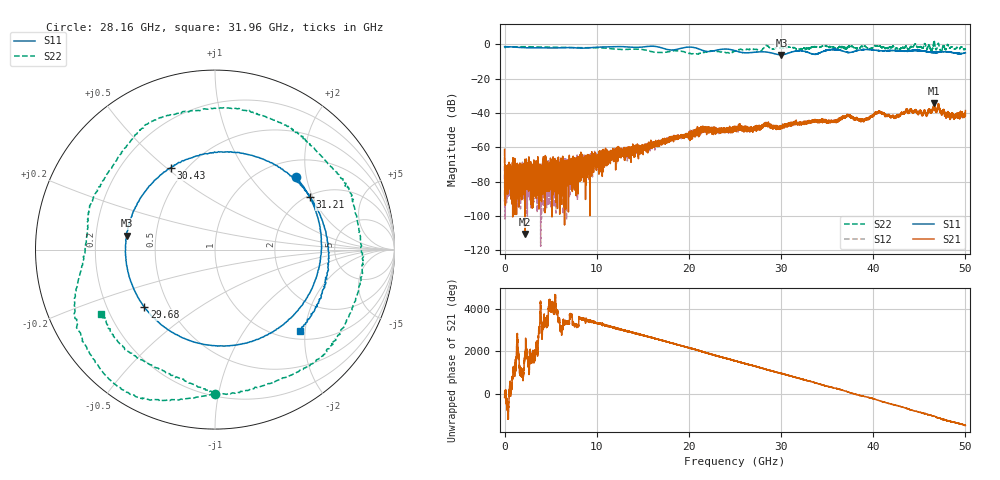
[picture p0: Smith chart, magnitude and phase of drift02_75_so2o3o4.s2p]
!Created with skrf (http://scikit-rf.org).
# Hz S RI R 50.0
!freq ReS11 ImS11 ReS21 ImS21 ReS12 ImS12 ReS22 ImS22
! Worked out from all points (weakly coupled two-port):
!   10001 points, 300 kHz to 50 GHz, reference 50 ohm
!   highest |S21| = -34.15 dB at 46.61 GHz (marker M1); lowest = -110.4 dB at 2.2 GHz (marker M2)
!   lowest |S11| = -6.1 dB at 30.04 GHz (marker M3), VSWR 2.97, Z = 16.9 + j3.52 ohm
!   |S11| at or under -10 dB: nowhere
!   |S22| runs from -5.7 to 2.3 dB; largest |S21 - S12| = 0.003
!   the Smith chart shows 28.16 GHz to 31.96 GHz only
!   S11 on the Smith chart (normalised r, x): 28.16 GHz: 1.35, +1.74; 29.68 GHz: 0.36, -0.31; 30.43 GHz: 0.41, +0.52; 31.21 GHz: 2.06, +1.90; 31.96 GHz: 1.19, -1.87
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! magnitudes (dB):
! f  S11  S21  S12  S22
! 300 kHz  -1.3  -61.1  -61.2  -2.1
! 255.3 MHz  -1.4  -73.3  -90.0  -1.4
! 2.2 GHz  -1.9  -110.4  -74.2  -1.3
! 6.125 GHz  -2.0  -70.7  -73.6  -1.7
! 8.335 GHz  -2.2  -70.0  -69.7  -1.9
! 16.67 GHz  -1.4  -57.4  -57.4  -4.7
! 21.4 GHz  -3.3  -49.1  -49.4  -5.0
! 25 GHz  -3.7  -49.7  -48.8  -3.9
! 28.16 GHz  -4.4  -47.1  -47.6  -1.9
! 29.68 GHz  -5.9  -48.5  -47.8  -2.1
! 30.04 GHz  -6.1  -47.9  -48.0  -2.0
! 30.43 GHz  -5.7  -47.7  -47.1  -1.8
! 31.21 GHz  -4.4  -45.8  -45.9  -1.7
! 31.96 GHz  -3.7  -45.9  -45.7  -2.8
! 33.34 GHz  -5.5  -45.2  -45.1  -1.6
! 37.27 GHz  -4.7  -41.3  -41.2  -1.4
! 38.91 GHz  -3.0  -44.0  -44.0  -1.4
! 40.58 GHz  -3.6  -39.2  -39.5  -1.0
! 41.67 GHz  -3.6  -41.0  -41.4  -1.8
! 46.61 GHz  -4.7  -34.1  -34.4  2.3
! 48.53 GHz  -4.7  -40.0  -40.0  -1.6
! 50 GHz  -4.9  -38.5  -40.3  -2.7
